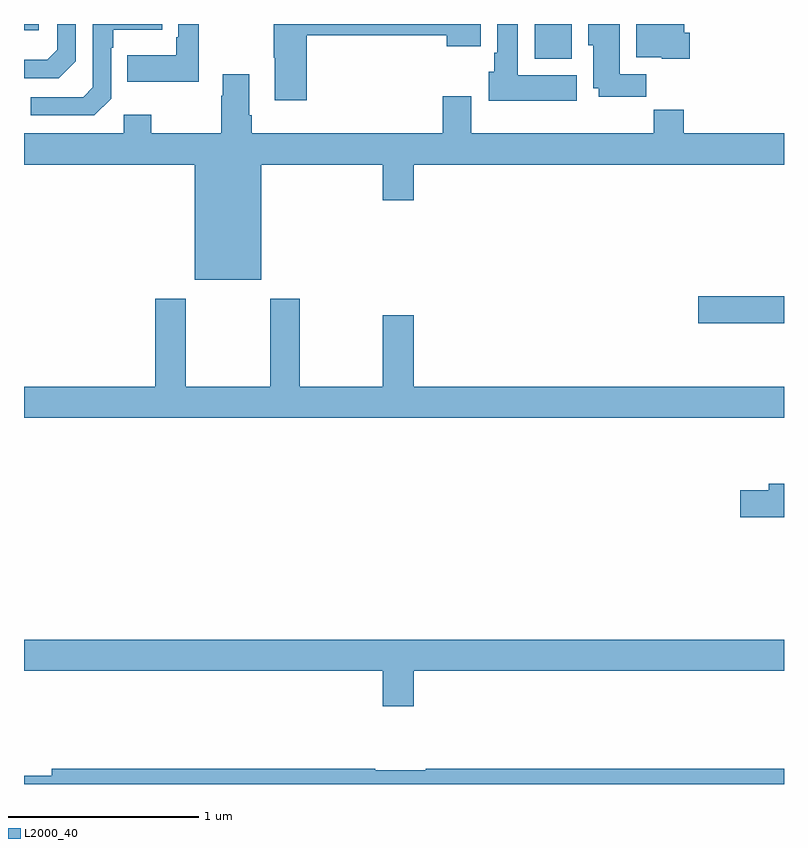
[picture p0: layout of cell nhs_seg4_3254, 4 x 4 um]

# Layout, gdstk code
import gdstk
lib = gdstk.Library(unit=1e-6, precision=1e-09)
def R(c, l, rs):  # rectangles x0, y0, x1, y1
    for r in rs: c.add(gdstk.rectangle(r[:2], r[2:], *l))
def P(c, l, *ps):  # polygons
    for p in ps: c.add(gdstk.Polygon(p, *l))
L2000_40 = (2000, 40)

nhs_seg4_3254 = lib.new_cell('nhs_seg4_3254')
R(nhs_seg4_3254, L2000_40, [(286.548,789.325,287,789.467), (285.687,790.718,285.883,790.9), (283,790.868,283.078,790.9)])
P(nhs_seg4_3254, L2000_40, [(283.458,790.506),(283.458,790.775),(283.471,790.775),(283.471,790.871),(283.727,790.871),(283.727,790.9),(283.362,790.9),(283.362,790.566),(283.311,790.515),(283.035,790.515),(283.035,790.419),(283.371,790.419)],
  [(283.272,790.704),(283.272,790.9),(283.176,790.9),(283.176,790.764),(283.123,790.711),(283,790.711),(283,790.614),(283.182,790.614)],
  [(286.274,790.636),(286.135,790.636),(286.135,790.9),(285.971,790.9),(285.971,790.788),(285.995,790.788),(285.995,790.562),(286.025,790.562),(286.025,790.518),(286.274,790.518)],
  [(283.921,790.9),(283.812,790.9),(283.812,790.831),(283.8,790.831),(283.8,790.735),(283.543,790.735),(283.543,790.595),(283.921,790.595)],
  [(284.489,790.84),(285.224,790.84),(285.224,790.784),(285.403,790.784),(285.403,790.9),(284.314,790.9),(284.314,790.723),(284.321,790.723),(284.321,790.5),(284.489,790.5)],
  [(285.91,790.63),(285.598,790.63),(285.598,790.9),(285.491,790.9),(285.491,790.75),(285.476,790.75),(285.476,790.65),(285.446,790.65),(285.446,790.496),(285.91,790.496)],
  [(286.505,790.854),(286.474,790.854),(286.474,790.9),(286.223,790.9),(286.223,790.724),(286.356,790.724),(286.356,790.718),(286.505,790.718)],
  [(284.248,790.16),(284.888,790.16),(284.888,789.972),(285.052,789.972),(285.052,790.16),(287,790.16),(287,790.324),(286.472,790.324),(286.472,790.448),(286.315,790.448),(286.315,790.324),(285.355,790.324),(285.355,790.519),(285.203,790.519),(285.203,790.324),(284.198,790.324),(284.198,790.42),(284.185,790.42),(284.185,790.636),(284.045,790.636),(284.045,790.523),(284.038,790.523),(284.038,790.324),(283.671,790.324),(283.671,790.423),(283.524,790.423),(283.524,790.324),(283,790.324),(283,790.16),(283.898,790.16),(283.898,789.554),(284.248,789.554)],
  [(287,788.992),(285.052,788.992),(285.052,789.367),(284.888,789.367),(284.888,788.992),(284.451,788.992),(284.451,789.454),(284.296,789.454),(284.296,788.992),(283.851,788.992),(283.851,789.454),(283.691,789.454),(283.691,788.992),(283,788.992),(283,788.828),(287,788.828)],
  [(287,788.479),(286.919,788.479),(286.919,788.445),(286.77,788.445),(286.77,788.303),(287,788.303)],
  [(285.052,787.496),(287,787.496),(287,787.66),(283,787.66),(283,787.496),(284.888,787.496),(284.888,787.308),(285.052,787.308)],
  [(287,786.98),(285.115,786.98),(285.115,786.973),(284.849,786.973),(284.849,786.98),(283.145,786.98),(283.145,786.944),(283,786.944),(283,786.9),(287,786.9)])

lib.write_gds('nhs_seg4_3254.gds')
